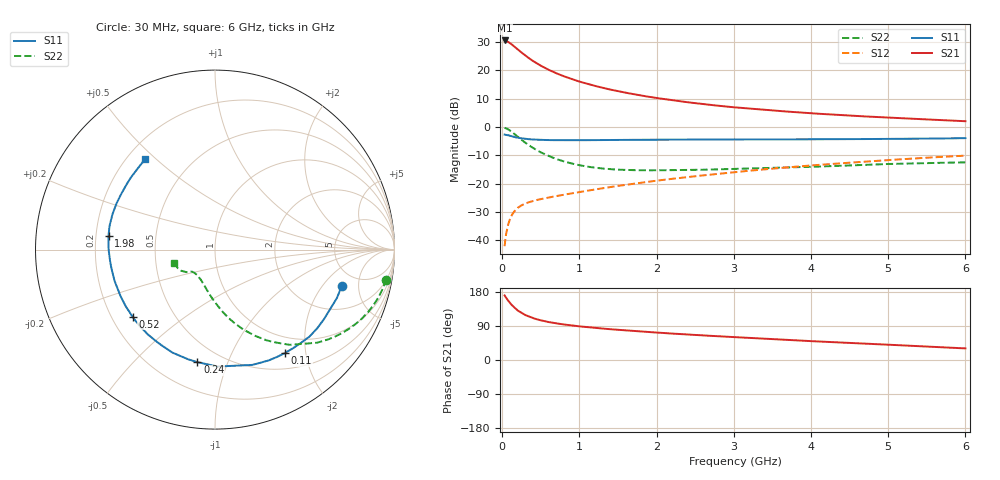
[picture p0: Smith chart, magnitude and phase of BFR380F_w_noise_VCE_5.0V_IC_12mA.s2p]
! Infineon Technologies  Discrete & RF Semiconductors
! BFR380F
! VCE =  5.0 V,  IC =  12 mA
! Common Emitter S-Parameters:  Nov 2015
# GHz  S  MA  R  50
!  f  S11  S21  S12  S22
! GHz  MAG  ANG  MAG  ANG  MAG  ANG  MAG  ANG
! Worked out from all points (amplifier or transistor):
!   206 points, 30 MHz to 6 GHz, reference 50 ohm
!   highest |S21| = 30.6 dB at 30 MHz (marker M1)
!   |S21| within 3 dB of that: start of sweep to 193.2 MHz
!   unconditionally stable (mu >= 1): 1.685 GHz to 5.056 GHz
!   at 200 MHz: K = 0.26, MSG = 28.0 dB, |S12| = -28.5 dB
!   at 1.56 GHz: K = 0.98, MSG = 16.4 dB, |S12| = -20.5 dB
!   at 6 GHz: K = 0.98, MSG = 6.1 dB, |S12| = -10.1 dB
!   lowest NFmin = 0.90 dB at 900 MHz
!   S11 on the Smith chart (normalised r, x): 30 MHz: 3.60, -3.18; 110 MHz: 0.74, -1.64; 240 MHz: 0.37, -0.78; 520 MHz: 0.29, -0.33; 1.98 GHz: 0.25, +0.06; 6 GHz: 0.27, +0.46
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0.03  0.7347 -16.1  33.69 170.3  0.0079 81.4  0.9691 -9.9
0.05  0.7221 -27.4  33.2 163.7  0.0131 77.4  0.9497 -16.2
0.07  0.7187 -37.6  32.15 158.1  0.0177 74.0  0.9207 -22.3
0.11  0.6956 -55.8  29.54 148.1  0.0255 65.7  0.847 -33.3
0.15  0.6751 -72.1  26.79 139.4  0.0317 59.7  0.7683 -42.5
0.2  0.6517 -88.7  23.43 130.6  0.0375 54.1  0.6743 -51.9
0.24  0.6347 -98.9  21.13 125.4  0.0408 51.2  0.6092 -57.7
0.3  0.6209 -112.5  18.2 118.4  0.0448 48.1  0.5264 -65.4
0.36  0.6072 -122.4  15.87 113.4  0.0478 46.5  0.4619 -71.4
0.45  0.5981 -134.2  13.21 107.2  0.0517 45.5  0.3884 -78.8
0.52  0.5921 -140.9  11.69 103.8  0.0542 45.6  0.3466 -83.2
0.6  0.5893 -147.4  10.24 100.1  0.057 46.2  0.308 -88.0
0.7  0.5866 -153.7  8.883 96.7  0.0605 47.2  0.2726 -93.3
0.9  0.586 -162.9  7.009 91.1  0.0676 49.8  0.2267 -101.9
1.04  0.5856 -167.9  6.111 88.0  0.0729 51.6  0.207 -107.0
1.4  0.5906 -177.3  4.578 81.2  0.0872 55.4  0.1805 -118.3
1.98  0.5983 172.6  3.283 72.7  0.112 59.3  0.1725 -129.0
2.02  0.5986 172.0  3.223 72.2  0.1138 59.5  0.1727 -129.5
3.1  0.6041 159.2  2.174 59.4  0.1642 61.8  0.1836 -137.9
4.1  0.6079 148.4  1.715 48.9  0.2147 60.6  0.2006 -141.2
5.1  0.6181 138.3  1.444 39.4  0.2663 57.9  0.2244 -149.3
6  0.6366 127.8  1.266 30.6  0.3127 53.9  0.2381 -161.6
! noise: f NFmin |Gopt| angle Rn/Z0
0.45  0.92  0.1  136  0.09
0.9  0.9  0.19  145  0.08
1.8  1.16  0.33  171  0.07
1.9  1.24  0.34  172  0.07
2.4  1.37  0.37  -175  0.08
3.5  1.99  0.48  -158  0.11
